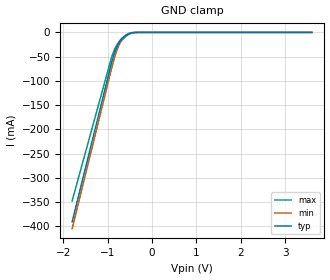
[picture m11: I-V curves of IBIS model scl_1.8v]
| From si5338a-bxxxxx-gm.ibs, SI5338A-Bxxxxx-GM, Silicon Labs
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[Model]   scl_1.8v
Model_type Input
Vinl = 540.000mV
Vinh = 1.2600V
C_comp   1.130E-12   0.741E-12   1.200E-12
[Voltage Range]   1.800E+00   1.710E+00   1.890E+00
[POWER Clamp Reference]   1.800E+00   1.710E+00   1.890E+00
[GND Clamp Reference]   0.000E+00   0.000E+00   0.000E+00
[Temperature Range]   25   85   -40
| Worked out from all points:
|   GND clamp passes 1 mA (typ) near -0.45 V on its own axis
[GND Clamp]
-1.8V     -391mA     -405.2mA   -348mA
-960mV    -80.27mA   -92.6mA    -67.18mA
-880mV    -52.71mA   -63.87mA   -43.33mA
-820mV    -36.23mA   -45.02mA   -30.47mA
-740mV    -21.33mA   -25.84mA   -18.75mA
-680mV    -14.15mA   -16.68mA   -12.32mA
-580mV    -6.092mA   -7.537mA   -4.765mA
-460mV    -1.094mA   -1.721mA   -624.8uA
-300mV    -21.4uA    -35.93uA   -12.78uA
3.6V      0A         0A         0A
